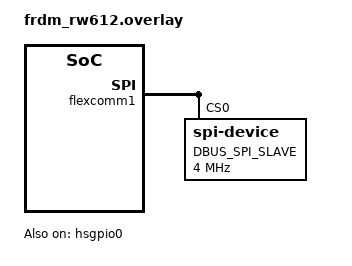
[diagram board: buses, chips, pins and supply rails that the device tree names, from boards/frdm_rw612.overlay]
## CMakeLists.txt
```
cmake_minimum_required(VERSION 3.20.0)

find_package(Zephyr REQUIRED HINTS $ENV{ZEPHYR_BASE})
project(zephyr_spi_master_test_app)

target_sources(app PRIVATE
  src/main.c
  src/dbus_message.c
)

target_include_directories(app PRIVATE inc)
```

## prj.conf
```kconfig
CONFIG_SPI=y
CONFIG_GPIO=y
CONFIG_LOG=y
CONFIG_CONSOLE=y
CONFIG_UART_CONSOLE=y
CONFIG_SYS_CLOCK_TICKS_PER_SEC=1000
```

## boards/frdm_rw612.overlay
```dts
/ {
    aliases {
        spi-master = &flexcomm1;
        cs-gpio-port = &hsgpio0;
        dbus-spi-slave = &dbus_spi_slave;
    };
};

&flexcomm1 {
    compatible = "nxp,lpc-spi";
    status = "okay";
    pinctrl-0 = <&pinmux_flexcomm1_spi>;
    pinctrl-names = "default";
    #address-cells = <1>;
    #size-cells = <0>;

    #address-cells = <1>;
    #size-cells = <0>;

    dbus_spi_slave: dbus_spi_slave@0 {
        compatible = "spi-device"; /* Generic SPI device */
        reg = <0>; /* Chip select 0 */
        spi-max-frequency = <4000000>; /* 4 MHz */
        label = "DBUS_SPI_SLAVE";
        cs-gpios = <&hsgpio0 10 GPIO_ACTIVE_LOW>; /* Example CS pin */
        /* Add other SPI properties as needed for the slave */
        duplex; /* Full-duplex */
        frame-format = <0>; /* Standard SPI frame format */
    };
};

&hsgpio0 {
    status = "okay";
};
```

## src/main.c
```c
#include <zephyr/kernel.h>
#include <zephyr/drivers/spi.h>
#include <zephyr/drivers/gpio.h>
#include <zephyr/logging/log.h>
#include <string.h>

#include "dbus_message.h"

LOG_MODULE_REGISTER(spi_master_test_app, LOG_LEVEL_INF);

/* SPI */
/* SPI */
#define SPI_MASTER_LABEL "FLEXCOMM1" // Label of the SPI master controller
#define SPI_SLAVE_LABEL "DBUS_SPI_SLAVE" // Label of the SPI slave device

/* CS GPIO */
#define CS_GPIO_LABEL "HSGPIO_0" // Label of the CS GPIO port
#define CS_GPIO_PIN 10 // Example pin, adjust as needed

static const struct device *spi_master_dev;
static const struct device *cs_gpio_port;
static struct gpio_dt_spec cs_gpio;

static struct spi_config spi_cfg = {
    .operation = SPI_OP_MODE_MASTER | SPI_WORD_SET(8) | SPI_TRANSFER_MSB,
    .frequency = 4000000, // 4 MHz
    .slave = 0, // Chip select 0
};

#define MAX_SPI_FRAME_SIZE (SPI_HEADER_LEN + DBUS_MAX_PAYLOAD_LEN)
static uint8_t tx_buffer[MAX_SPI_FRAME_SIZE];
static uint8_t rx_buffer[MAX_SPI_FRAME_SIZE];

/**
 * @brief Sends an SPI frame and receives a response.
 *
 * @param tx_data Pointer to the transmit data buffer.
 * @param tx_len Length of the transmit data.
 * @param rx_data Pointer to the receive data buffer.
 * @param rx_len Expected length of the receive data.
 * @return 0 on success, negative errno on failure.
 */
static int spi_send_and_receive(const uint8_t *tx_data, size_t tx_len,
                                  uint8_t *rx_data, size_t rx_len)
{
    int ret;
    struct spi_buf tx_buf = {
        .buf = (void *)tx_data,
        .len = tx_len
    };
    struct spi_buf_set tx_bufs = {
        .buffers = &tx_buf,
        .count = 1
    };

    struct spi_buf rx_buf = {
        .buf = (void *)rx_data,
        .len = rx_len
    };
    struct spi_buf_set rx_bufs = {
        .buffers = &rx_buf,
        .count = 1
    };

    // Assert CS low
    gpio_pin_set_dt(&cs_gpio, 0);
    k_sleep(K_USEC(10)); // Small delay for slave to react

    ret = spi_transceive(spi_master_dev, &spi_cfg, &tx_bufs, &rx_bufs);
    if (ret < 0) {
        LOG_ERR("SPI transceive failed: %d", ret);
    }

    // Assert CS high
    gpio_pin_set_dt(&cs_gpio, 1);
    k_sleep(K_USEC(10)); // Small delay

    return ret;
}

void main(void)
{
    int ret;

    LOG_INF("SPI Master Test Application Started");

    spi_master_dev = device_get_binding(SPI_MASTER_LABEL);
    if (!spi_master_dev) {
        LOG_ERR("SPI master device %s not found!", SPI_MASTER_LABEL);
        return;
    }

    cs_gpio_port = device_get_binding(CS_GPIO_LABEL);
    if (!cs_gpio_port) {
        LOG_ERR("CS GPIO port %s not found!", CS_GPIO_LABEL);
        return;
    }

    cs_gpio.port = cs_gpio_port;
    cs_gpio.pin = CS_GPIO_PIN;
    cs_gpio.dt_flags = GPIO_ACTIVE_LOW; // Assuming active low CS

    ret = gpio_pin_configure_dt(&cs_gpio, GPIO_OUTPUT_ACTIVE);
    if (ret < 0) {
        LOG_ERR("Failed to configure CS GPIO pin %d: %d", cs_gpio.pin, ret);
        return;
    }

    LOG_INF("SPI Master and CS GPIO configured.");

    k_sleep(K_SECONDS(2)); // Give slave time to initialize

    while (1) {
        dbus_message_t cmd_msg;
        uint8_t cmd_data[] = {0x01, 0x02, 0x03, 0x04}; // Example command data
        size_t frame_len;

        // Scenario 1.1: Basic Command-Response
        LOG_INF("--- Scenario 1.1: Basic Command-Response ---");
        if (dbus_message_create_command(&cmd_msg, 0x1001, 0x0001, cmd_data, sizeof(cmd_data))) {
            if (dbus_message_to_spi_frame(&cmd_msg, tx_buffer, sizeof(tx_buffer), &frame_len)) {
                LOG_HEXDUMP_INF(tx_buffer, frame_len, "Sending Command:");

                ret = spi_send_and_receive(tx_buffer, frame_len, rx_buffer, MAX_SPI_FRAME_SIZE);
                if (ret == 0) {
                    LOG_HEXDUMP_INF(rx_buffer, MAX_SPI_FRAME_SIZE, "Received Response:");
                    // Further parsing of the response can be added here
                } else {
                    LOG_ERR("Failed to send/receive SPI command.");
                }
            } else {
                LOG_ERR("Failed to convert DBus message to SPI frame.");
            }
        } else {
            LOG_ERR("Failed to create DBus command message.");
        }

        k_sleep(K_SECONDS(5)); // Wait before sending next command
    }
}
```

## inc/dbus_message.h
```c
#ifndef DBUS_MESSAGE_H
#define DBUS_MESSAGE_H

#include <zephyr/types.h>
#include <stddef.h>

/* SPI Protocol Definitions */
#define SPI_SOF_BYTE            0xAA
#define SPI_LENGTH_OFFSET       1
#define SPI_CRC_OFFSET          2
#define SPI_HEADER_LEN          3   /* SOF + Length + CRC */
#define DBUS_MAX_PAYLOAD_LEN    252 /* Max payload length (255 - SPI_HEADER_LEN) */

/* DBus Message Types (from original driver) */
typedef enum {
    DBAL_TYPE_CMD = 0x01,
    DBAL_TYPE_CMD_ACK = 0x02,
    DBAL_TYPE_QUERY = 0x03,
    DBAL_TYPE_QUERY_ACK = 0x04,
    DBAL_TYPE_EVENT = 0x05,
    DBAL_TYPE_CONNECTION_REQ = 0x06,
    DBAL_TYPE_CONNECTION_ACK = 0x07,
    DBAL_TYPE_PING_REQ = 0x08,
    DBAL_TYPE_PING_ACK = 0x09,
    DBAL_TYPE_DISABLE_REQ = 0x0A,
    DBAL_TYPE_DISABLE_ACK = 0x0B,
    DBAL_TYPE_UNKNOWN = 0xFF
} dbal_message_type_t;

/* DBus Frame Offsets (within payload, after SPI header) */
#define DBAL_FRAME_MESSAGE_TYPE_OFFSET  0
#define DBAL_FRAME_SERVICE_ID_HI        1
#define DBAL_FRAME_SERVICE_ID_LO        2
#define DBAL_FRAME_COMMAND_ID_HI        3
#define DBAL_FRAME_COMMAND_ID_LO        4
#define DBAL_FRAME_DATA_OFFSET          5 /* Start of actual data within DBus payload */

/* Generic DBus Message Structure (for construction) */
typedef struct {
    dbal_message_type_t type;
    uint16_t service_id;
    uint16_t command_id;
    uint8_t data[DBUS_MAX_PAYLOAD_LEN - DBAL_FRAME_DATA_OFFSET]; /* Max data length */
    uint8_t data_len;
} dbus_message_t;

/* Function Prototypes */
uint8_t calculate_crc8(const uint8_t *data, size_t len);
bool dbus_message_create_command(dbus_message_t *msg, uint16_t service_id, uint16_t command_id, const uint8_t *data, uint8_t data_len);
bool dbus_message_create_query(dbus_message_t *msg, uint16_t service_id, uint16_t command_id, const uint8_t *data, uint8_t data_len);
bool dbus_message_create_event(dbus_message_t *msg, uint16_t service_id, uint16_t command_id, const uint8_t *data, uint8_t data_len);
bool dbus_message_to_spi_frame(const dbus_message_t *msg, uint8_t *spi_frame_buffer, size_t buffer_size, size_t *frame_len);

#endif /* DBUS_MESSAGE_H */
```

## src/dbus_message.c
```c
#include <zephyr/kernel.h>
#include <zephyr/logging/log.h>
#include <string.h>

#include "dbus_message.h"

LOG_MODULE_REGISTER(dbus_message_module, LOG_LEVEL_INF);

/* CRC-8 lookup table (polynomial 0x07, initial value 0x00, final XOR 0x00) */
static const uint8_t crc8_table[256] = {
    0x00, 0x07, 0x0E, 0x09, 0x1C, 0x1B, 0x12, 0x15, 0x38, 0x3F, 0x36, 0x31, 0x24, 0x23, 0x2A, 0x2D,
    0x70, 0x77, 0x7E, 0x79, 0x6C, 0x6B, 0x62, 0x65, 0x48, 0x4F, 0x46, 0x41, 0x54, 0x53, 0x5A, 0x5D,
    0xE0, 0xE7, 0xEE, 0xE9, 0xFC, 0xFB, 0xF2, 0xF5, 0xD8, 0xDF, 0xD6, 0xD1, 0xC4, 0xC3, 0xCA, 0xCD,
    0x90, 0x97, 0x9E, 0x99, 0x8C, 0x8B, 0x82, 0x85, 0xA8, 0xAF, 0xA6, 0xA1, 0xB4, 0xB3, 0xBA, 0xBDB,
    0xC0, 0xC7, 0xCE, 0xC9, 0xDC, 0xDB, 0xD2, 0xD5, 0xF8, 0xFF, 0xF6, 0xF1, 0xE4, 0xE3, 0xEA, 0xED,
    0xB0, 0xB7, 0xBE, 0xB9, 0xAC, 0xAB, 0xA2, 0xA5, 0x88, 0x8F, 0x86, 0x81, 0x94, 0x93, 0x9A, 0x9D,
    0x20, 0x27, 0x2E, 0x29, 0x3C, 0x3B, 0x32, 0x35, 0x18, 0x1F, 0x16, 0x11, 0x04, 0x03, 0x0A, 0x0D,
    0x50, 0x57, 0x5E, 0x59, 0x4C, 0x4B, 0x42, 0x45, 0x68, 0x6F, 0x66, 0x61, 0x74, 0x73, 0x7A, 0x7D,
    0x80, 0x87, 0x8E, 0x89, 0x9C, 0x9B, 0x92, 0x95, 0xB8, 0xBF, 0xB6, 0xB1, 0xA4, 0xA3, 0xAA, 0xAD,
    0xF0, 0xF7, 0xFE, 0xF9, 0xEC, 0xEB, 0xE2, 0xE5, 0xC8, 0xCF, 0xC6, 0xC1, 0xD4, 0xD3, 0xDA, 0xDD,
    0x60, 0x67, 0x6E, 0x69, 0x7C, 0x7B, 0x72, 0x75, 0x58, 0x5F, 0x56, 0x51, 0x44, 0x43, 0x4A, 0x4D,
    0x10, 0x17, 0x1E, 0x19, 0x0C, 0x0B, 0x02, 0x05, 0x28, 0x2F, 0x26, 0x21, 0x34, 0x33, 0x3A, 0x3D,
    0xCE, 0xC9, 0xDC, 0xDB, 0xD2, 0xD5, 0xF8, 0xFF, 0xF6, 0xF1, 0xE4, 0xE3, 0xEA, 0xED, 0xB0, 0xB7,
    0xBE, 0xB9, 0xAC, 0xAB, 0xA2, 0xA5, 0x88, 0x8F, 0x86, 0x81, 0x94, 0x93, 0x9A, 0x9D, 0xF0, 0xF7,
    0xFE, 0xF9, 0xEC, 0xEB, 0xE2, 0xE5, 0xC8, 0xCF, 0xC6, 0xC1, 0xD4, 0xD3, 0xDA, 0xDD, 0x60, 0x67,
    0x6E, 0x69, 0x7C, 0x7B, 0x72, 0x75, 0x58, 0x5F, 0x56, 0x51, 0x44, 0x43, 0x4A, 0x4D, 0x10, 0x17
};

uint8_t calculate_crc8(const uint8_t *data, size_t len)
{
    uint8_t crc = 0x00;
    for (size_t i = 0; i < len; i++) {
        crc = crc8_table[crc ^ data[i]];
    }
    return crc;
}

static bool dbus_message_create_generic(dbus_message_t *msg, dbal_message_type_t type,
                                        uint16_t service_id, uint16_t command_id,
                                        const uint8_t *data, uint8_t data_len)
{
    if (msg == NULL) {
        LOG_ERR("Message pointer is NULL.");
        return false;
    }

    if (data_len > (DBUS_MAX_PAYLOAD_LEN - DBAL_FRAME_DATA_OFFSET)) {
        LOG_ERR("Data length (%u) exceeds maximum allowed (%u).",
                data_len, (DBUS_MAX_PAYLOAD_LEN - DBAL_FRAME_DATA_OFFSET));
        return false;
    }

    msg->type = type;
    msg->service_id = service_id;
    msg->command_id = command_id;
    msg->data_len = data_len;
    if (data != NULL && data_len > 0) {
        memcpy(msg->data, data, data_len);
    } else {
        memset(msg->data, 0, sizeof(msg->data));
    }

    return true;
}

bool dbus_message_create_command(dbus_message_t *msg, uint16_t service_id, uint16_t command_id, const uint8_t *data, uint8_t data_len)
{
    return dbus_message_create_generic(msg, DBAL_TYPE_CMD, service_id, command_id, data, data_len);
}

bool dbus_message_create_query(dbus_message_t *msg, uint16_t service_id, uint16_t command_id, const uint8_t *data, uint8_t data_len)
{
    return dbus_message_create_generic(msg, DBAL_TYPE_QUERY, service_id, command_id, data, data_len);
}

bool dbus_message_create_event(dbus_message_t *msg, uint16_t service_id, uint16_t command_id, const uint8_t *data, uint8_t data_len)
{
    return dbus_message_create_generic(msg, DBAL_TYPE_EVENT, service_id, command_id, data, data_len);
}

bool dbus_message_to_spi_frame(const dbus_message_t *msg, uint8_t *spi_frame_buffer, size_t buffer_size, size_t *frame_len)
{
    if (msg == NULL || spi_frame_buffer == NULL || frame_len == NULL) {
        LOG_ERR("Invalid input parameters (NULL pointer).");
        return false;
    }

    uint8_t payload_len = DBAL_FRAME_DATA_OFFSET + msg->data_len;
    size_t required_size = SPI_HEADER_LEN + payload_len;

    if (buffer_size < required_size) {
        LOG_ERR("Buffer size (%zu) too small for SPI frame (required: %zu).", buffer_size, required_size);
        return false;
    }

    // Construct DBus payload
    uint8_t dbus_payload[DBUS_MAX_PAYLOAD_LEN];
    dbus_payload[DBAL_FRAME_MESSAGE_TYPE_OFFSET] = msg->type;
    dbus_payload[DBAL_FRAME_SERVICE_ID_HI] = (uint8_t)(msg->service_id >> 8);
    dbus_payload[DBAL_FRAME_SERVICE_ID_LO] = (uint8_t)(msg->service_id & 0xFF);
    dbus_payload[DBAL_FRAME_COMMAND_ID_HI] = (uint8_t)(msg->command_id >> 8);
    dbus_payload[DBAL_FRAME_COMMAND_ID_LO] = (uint8_t)(msg->command_id & 0xFF);
    if (msg->data_len > 0) {
        memcpy(&dbus_payload[DBAL_FRAME_DATA_OFFSET], msg->data, msg->data_len);
    }

    // Calculate CRC for the DBus payload
    uint8_t crc = calculate_crc8(dbus_payload, payload_len);

    // Construct SPI frame
    spi_frame_buffer[0] = SPI_SOF_BYTE;
    spi_frame_buffer[SPI_LENGTH_OFFSET] = payload_len;
    spi_frame_buffer[SPI_CRC_OFFSET] = crc;
    memcpy(&spi_frame_buffer[SPI_HEADER_LEN], dbus_payload, payload_len);

    *frame_len = required_size;

    return true;
}
```
